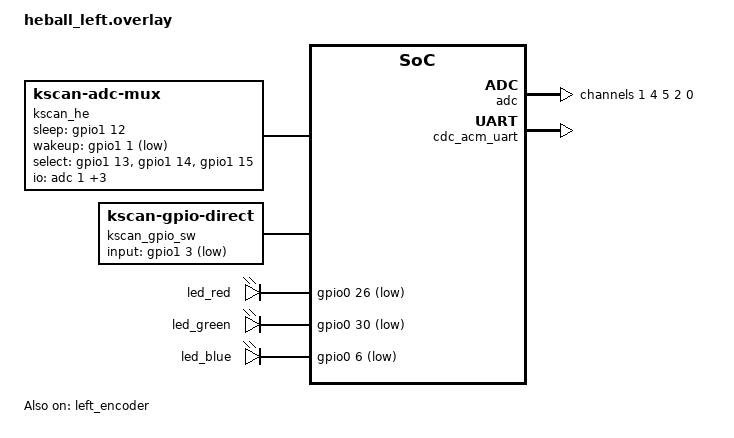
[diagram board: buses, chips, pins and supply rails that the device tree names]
#include "heball.dtsi"
#include <behaviors/battery_history_request.dtsi>

/* Enable ADC and define channels */
&adc {
    #address-cells = <1>;
    #size-cells = <0>;
    status = "okay";

    /* AM1: MUX_OUT_1: D1 = P0.03 = AIN1 */
    channel@1 {
        reg = <1>;
        zephyr,gain = "ADC_GAIN_1_6";
        zephyr,reference = "ADC_REF_INTERNAL";
        zephyr,acquisition-time = <ADC_ACQ_TIME_DEFAULT>;
        zephyr,input-positive = <NRF_SAADC_AIN1>;
        zephyr,resolution = <12>;
    };

    /* AM2: MUX_OUT_2: D2 = P0.28 = AIN4 */
    channel@4 {
        reg = <4>;
        zephyr,gain = "ADC_GAIN_1_6";
        zephyr,reference = "ADC_REF_INTERNAL";
        zephyr,acquisition-time = <ADC_ACQ_TIME_DEFAULT>;
        zephyr,input-positive = <NRF_SAADC_AIN4>;
        zephyr,resolution = <12>;
    };

    /* AM3: MUX_OUT_3: D3 = P0.29 = AIN5 */
    channel@5 {
        reg = <5>;
        zephyr,gain = "ADC_GAIN_1_6";
        zephyr,reference = "ADC_REF_INTERNAL";
        zephyr,acquisition-time = <ADC_ACQ_TIME_DEFAULT>;
        zephyr,input-positive = <NRF_SAADC_AIN5>;
        zephyr,resolution = <12>;
    };

    /* AM4: MUX_OUT_4: P0.04 = AIN2 */
    channel@2 {
        reg = <2>;
        zephyr,gain = "ADC_GAIN_1_6";
        zephyr,reference = "ADC_REF_INTERNAL";
        zephyr,acquisition-time = <ADC_ACQ_TIME_DEFAULT>;
        zephyr,input-positive = <NRF_SAADC_AIN2>;
        zephyr,resolution = <12>;
    };

    /* Battery voltage monitoring: P0.02 = AIN0 */
    channel@0 {
        reg = <0>;
        zephyr,gain = "ADC_GAIN_1_6";
        zephyr,reference = "ADC_REF_INTERNAL";
        zephyr,acquisition-time = <ADC_ACQ_TIME_DEFAULT>;
        zephyr,input-positive = <NRF_SAADC_AIN0>;
        zephyr,resolution = <12>;
    };
};

/ {
    kscan_he: kscan_he {
        compatible = "zmk,kscan-adc-mux";
        status = "okay";

        /* SC4823 sleep/wakeup control */
        sleep-gpios = <&gpio1 12 GPIO_ACTIVE_HIGH>;   /* P1.12 → HE_SLEEP */
        wakeup-gpios = <&gpio1 1 GPIO_ACTIVE_LOW>;    /* P1.01 → HE_AWAKE */

        /* MUX select lines: D8=P1.13(S0), D9=P1.14(S1), D10=P1.15(S2) */
        select-gpios = <&gpio1 13 GPIO_ACTIVE_HIGH>,
                       <&gpio1 14 GPIO_ACTIVE_HIGH>,
                       <&gpio1 15 GPIO_ACTIVE_HIGH>;

        /* ADC inputs: AIN1(AM1), AIN4(AM2), AIN5(AM3), AIN2(AM4) */
        io-channels = <&adc 1>, <&adc 4>, <&adc 5>, <&adc 2>;

        num-keys = <27>;
        scan-period-ms = <8>;
        idle-scan-period-ms = <40>;
        idle-enter-ms = <300>;
        idle-wakeup-delta = <30>;
        settle-us = <20>;
        invert-adc;
        press-threshold = <60>;
        release-threshold = <30>;
        debounce-ms = <5>;
        initial-adc-range = <300>;
        calibration-duration-ms = <500>;

        /*
         * mux_map: 8 addresses x 4 ADC channels = 32 entries
         * value = key index (0-26), 0xFF = unconnected (GND)
         *
         * addr  AM1(adc0)  AM2(adc1)  AM3(adc2)  AM4(adc3)
         *  0    HE3 → 2   HE9 → 8   HE16→15   HE23→22
         *  1    HE2 → 1   HE8 → 7   HE15→14   HE22→21
         *  2    HE1 → 0   HE7 → 6   HE14→13   HE21→20
         *  3    GND→0xFF  HE10→ 9   HE17→16   HE24→23
         *  4    HE4 → 3   HE11→10   HE18→17   HE25→24
         *  5    GND→0xFF  GND→0xFF  GND→0xFF  GND→0xFF
         *  6    HE5 → 4   HE12→11   HE19→18   HE26→25
         *  7    HE6 → 5   HE13→12   HE20→19   HE27→26
         */
        mux_map = <
             2    8   15   22     /* addr0 */
             1    7   14   21     /* addr1 */
             0    6   13   20     /* addr2 */
          0xFF    9   16   23     /* addr3: AM1 unconnected */
             3   10   17   24     /* addr4 */
          0xFF 0xFF 0xFF 0xFF     /* addr5: all unconnected */
             4   11   18   25     /* addr6 */
             5   12   19   26     /* addr7 */
        >;
    };

    /* Encoder push button SW on P1.03 (active-low, internal pull-up) */
    kscan_gpio_sw: kscan_gpio_sw {
        compatible = "zmk,kscan-gpio-direct";
        input-gpios = <&gpio1 3 (GPIO_ACTIVE_LOW | GPIO_PULL_UP)>;
        wakeup-source;
    };

    /* Composite kscan: HE keys (col 0-26) + SW push button (col 27) */
    kscan_composite: kscan_composite {
        compatible = "zmk,kscan-composite";
        rows = <1>;
        columns = <28>;

        he {
            kscan = <&kscan_he>;
        };

        sw {
            kscan = <&kscan_gpio_sw>;
            col-offset = <27>;
        };
    };
};

/* Disable serial and i2c to free up pins */
&uart0 { status = "disabled"; };
&i2c0 { status = "disabled"; };

/* USB logging console */
&zephyr_udc0 {
    cdc_acm_uart: cdc_acm_uart {
        compatible = "zephyr,cdc-acm-uart";
    };
};

/ {
    chosen {
        zephyr,console = &cdc_acm_uart;
    };

    /* Define aliases for RGB LED widget */
    aliases {
        led-red = &led_red;
        led-green = &led_green;
        led-blue = &led_blue;
    };

    /* XIAO nRF52840 User LEDs are active-low */
    leds {
        compatible = "gpio-leds";
        led_red: led_red {
            gpios = <&gpio0 26 GPIO_ACTIVE_LOW>;
        };
        led_green: led_green {
            gpios = <&gpio0 30 GPIO_ACTIVE_LOW>;
        };
        led_blue: led_blue {
            gpios = <&gpio0 6 GPIO_ACTIVE_LOW>;
        };
    };
};

/* Enable left encoder (A/B swapped to reverse scroll direction) */
&left_encoder {
    status = "okay";
    a-gpios = <&gpio1 7 (GPIO_ACTIVE_HIGH | GPIO_PULL_UP)>;
    b-gpios = <&gpio1 5 (GPIO_ACTIVE_HIGH | GPIO_PULL_UP)>;
};
